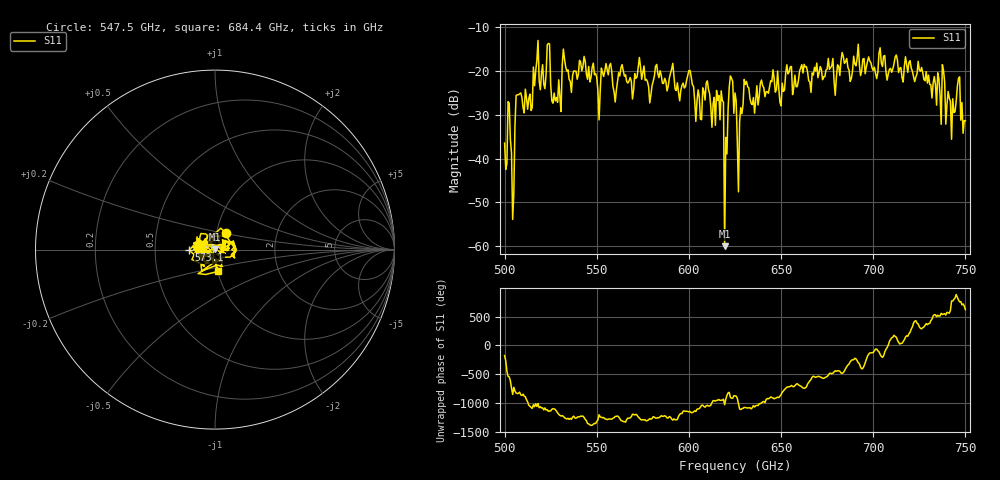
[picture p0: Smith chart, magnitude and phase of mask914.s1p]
!Created with skrf (http://scikit-rf.org).
# GHz S MA R 50.0
!freq magS11 angS11
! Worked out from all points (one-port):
!   401 points, 500 GHz to 750 GHz, reference 50 ohm
!   lowest |S11| = -60.0 dB at 619.4 GHz (marker M1), VSWR 1.00, Z = 50.1 + j0.0792 ohm
!   |S11| at or under -10 dB: start of sweep to end of sweep
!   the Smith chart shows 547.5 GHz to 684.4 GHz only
!   S11 on the Smith chart (normalised r, x): 547.5 GHz: 1.11, +0.21; 573.1 GHz: 0.75, -0.01; 684.4 GHz: 1.00, -0.25
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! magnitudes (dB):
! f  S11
! 500 GHz  -36.4
! 502.5 GHz  -27.3
! 504.4 GHz  -53.9
! 507.5 GHz  -25.4
! 513.8 GHz  -25.2
! 516.9 GHz  -19.9
! 523.8 GHz  -13.7
! 526.9 GHz  -25.0
! 531.2 GHz  -18.7
! 547.5 GHz  -19.1
! 562.5 GHz  -21.1
! 573.1 GHz  -16.9
! 593.8 GHz  -22.7
! 617.5 GHz  -24.5
! 619.4 GHz  -60.0
! 620.6 GHz  -38.9
! 622.5 GHz  -21.1
! 625 GHz  -25.0
! 627.5 GHz  -31.6
! 631.2 GHz  -22.3
! 635 GHz  -26.0
! 656.2 GHz  -25.4
! 684.4 GHz  -18.2
! 687.5 GHz  -22.3
! 718.8 GHz  -20.3
! 743.1 GHz  -26.3
! 746.9 GHz  -21.3
! 750 GHz  -31.3
